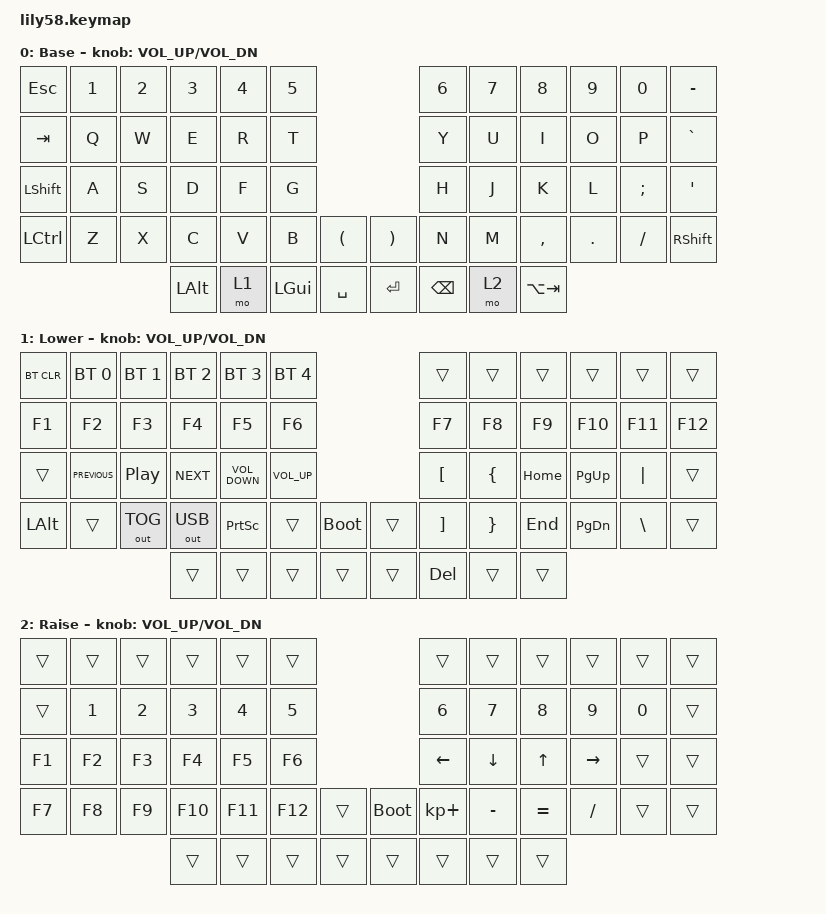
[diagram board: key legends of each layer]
/*
 * Copyright (c) 2020 The ZMK Contributors
 *
 * SPDX-License-Identifier: MIT
 */

#include <behaviors.dtsi>
#include <dt-bindings/zmk/bt.h>
#include <dt-bindings/zmk/keys.h>
#include <dt-bindings/zmk/outputs.h>

/ {
    combos { compatible = "zmk,combos"; };

    keymap {
        compatible = "zmk,keymap";

        default_layer {
            // ------------------------------------------------------------------------------------------------------------
            // |  ESC  |  1  |  2  |  3   |  4   |  5   |                   |  6   |  7    |  8    |  9   |   0   |   -   |
            // |  TAB  |  Q  |  W  |  E   |  R   |  T   |                   |  Y   |  U    |  I    |  O   |   P   |   `   |
            // | SHIFT |  A  |  S  |  D   |  F   |  G   |                   |  H   |  J    |  K    |  L   |   ;   |   '   |
            // |  CTRL |  Z  |  X  |  C   |  V   |  B   |   "("  |  |  ")"  |  N   |  M    |  ,    |  .   |   /   | SHIFT |
            //                     | ALT  | MO1  | GUI  |  SPACE |  | ENTER | BKSPC| MO2   |ALT_TAB|

            display-name = "Base";
            bindings = <
&kp ESC         &kp NUMBER_1  &kp NUMBER_2  &kp NUMBER_3  &kp NUMBER_4  &kp NUMBER_5                                                 &kp NUMBER_6   &kp NUMBER_7  &kp NUMBER_8  &kp NUMBER_9  &kp NUMBER_0  &kp MINUS
&kp TAB         &kp Q         &kp W         &kp E         &kp R         &kp T                                                        &kp Y          &kp U         &kp I         &kp O         &kp P         &kp GRAVE
&kp LEFT_SHIFT  &kp A         &kp S         &kp D         &kp F         &kp G                                                        &kp H          &kp J         &kp K         &kp L         &kp SEMI      &kp SQT
&kp LCTRL       &kp Z         &kp X         &kp C         &kp V         &kp B         &kp LEFT_PARENTHESIS    &kp RIGHT_PARENTHESIS  &kp N          &kp M         &kp COMMA     &kp DOT       &kp FSLH      &kp RSHFT
                                            &kp LEFT_ALT  &mo 1         &kp LEFT_GUI  &kp SPACE               &kp ENTER              &kp BACKSPACE  &mo 2         &kp LA(TAB)
            >;

            sensor-bindings = <&inc_dec_kp C_VOL_UP C_VOL_DN>;
        };

        lower_layer {
            // ------------------------------------------------------------------------------------------------------------
            // | BTCLR |   BT0  |   BT1  |   BT2  |   BT3  |   BT4  |                   |       |       |       |       |       |       |
            // |  F1   |   F2   |   F3   |   F4   |   F5   |   F6   |                   |  F7   |  F8   |  F9   |  F10  |  F11  |  F12  |
            // |       | C_PREV | C_PL_P | C_NEXT | C_VOLD | C_VOLU |                   |   [   |   {   | HOME  | PG_UP |  "|"  |       |
            // |       |        | OUTTOG | OUTUSB | PRTSCR |        | BOOTLD |  |       |   ]   |   }   |  END  | PG_DN |   \   |       |
            //                           |        |        |        |        |  |       |  DEL  |       |       |

            display-name = "Lower";
            bindings = <
&bt BT_CLR    &bt BT_SEL 0    &bt BT_SEL 1      &bt BT_SEL 2  &bt BT_SEL 3       &bt BT_SEL 4                            &trans             &trans           &trans    &trans         &trans         &trans
&kp F1        &kp F2          &kp F3            &kp F4        &kp F5             &kp F6                                  &kp F7             &kp F8           &kp F9    &kp F10        &kp F11        &kp F12
&trans        &kp C_PREVIOUS  &kp C_PLAY_PAUSE  &kp C_NEXT    &kp C_VOLUME_DOWN  &kp C_VOLUME_UP                         &kp LEFT_BRACKET   &kp LEFT_BRACE   &kp HOME  &kp PAGE_UP    &kp PIPE       &trans
&kp LEFT_ALT  &trans          &out OUT_TOG      &out OUT_USB  &kp PRINTSCREEN    &trans           &bootloader    &trans  &kp RIGHT_BRACKET  &kp RIGHT_BRACE  &kp END   &kp PAGE_DOWN  &kp BACKSLASH  &trans
                                                &trans        &trans             &trans           &trans         &trans  &kp DELETE         &trans           &trans
            >;

            sensor-bindings = <&inc_dec_kp C_VOL_UP C_VOL_DN>;
        };

        raise_layer {
            // ------------------------------------------------------------------------------------------------------------
            // |       |     |     |      |      |      |                   |      |       |       |      |       |       |
            // |       |  1  |  2  |  3   |  4   |  5   |                   |  6   |   7   |   8   |  9   |   0   |       |
            // |   F1  |  F2 |  F3 |  F4  |  F5  |  F6  |                   |  <-  |   v   |   ^   |  ->  |       |       |
            // |   F7  |  F8 |  F9 |  F10 |  F11 |  F12 |        |  | BOOTLD |  +   |   -   |   =   |  /   |       |       |
            //                     |      |      |      |        |  |       |      |       |       |

            display-name = "Raise";
            bindings = <
&trans  &trans  &trans  &trans   &trans   &trans                          &trans          &trans          &trans        &trans           &trans  &trans
&trans  &kp N1  &kp N2  &kp N3   &kp N4   &kp N5                          &kp N6          &kp N7          &kp N8        &kp N9           &kp N0  &trans
&kp F1  &kp F2  &kp F3  &kp F4   &kp F5   &kp F6                          &kp LEFT_ARROW  &kp DOWN_ARROW  &kp UP_ARROW  &kp RIGHT_ARROW  &trans  &trans
&kp F7  &kp F8  &kp F9  &kp F10  &kp F11  &kp F12  &trans    &bootloader  &kp KP_PLUS     &kp MINUS       &kp EQUAL     &kp SLASH        &trans  &trans
                        &trans   &trans   &trans   &trans    &trans       &trans          &trans          &trans
            >;

            sensor-bindings = <&inc_dec_kp C_VOL_UP C_VOL_DN>;
        };
    };
};
